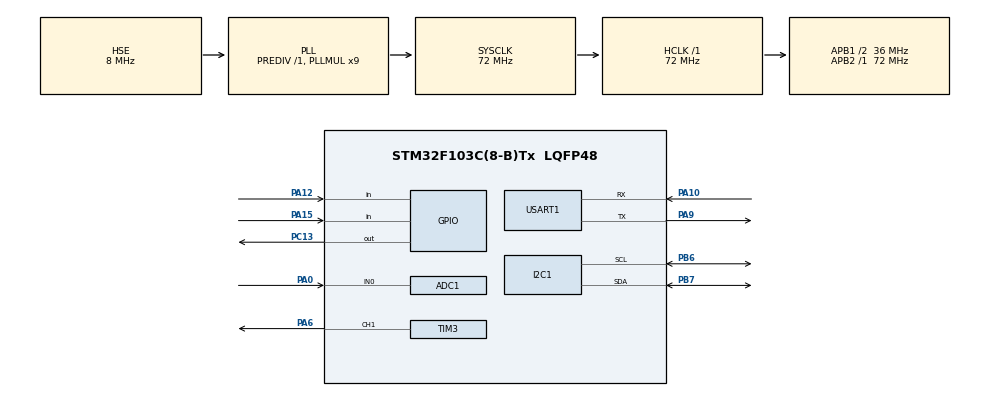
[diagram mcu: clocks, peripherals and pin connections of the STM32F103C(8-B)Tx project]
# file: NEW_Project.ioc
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ADC1.Channel-2\#ChannelRegularConversion=ADC_CHANNEL_0
ADC1.ContinuousConvMode=ENABLE
ADC1.NbrOfConversionFlag=1
ADC1.Rank-2\#ChannelRegularConversion=1
ADC1.SamplingTime-2\#ChannelRegularConversion=ADC_SAMPLETIME_28CYCLES_5
ADC1.master=1
Mcu.Family=STM32F1
Mcu.Name=STM32F103C(8-B)Tx
Mcu.Package=LQFP48
NVIC.PriorityGroup=NVIC_PRIORITYGROUP_4
NVIC.TIM2_IRQn=true\:14\:0\:true\:false\:true\:true\:true\:true
NVIC.USART1_IRQn=true\:1\:0\:true\:false\:true\:true\:true\:true
PA0-WKUP.Signal=ADCx_IN0
PA10.Mode=Asynchronous
PA10.Signal=USART1_RX
PA12.GPIO_PuPd=GPIO_PULLUP
PA12.Signal=GPIO_Input
PA13.Mode=Serial_Wire
PA13.Signal=SYS_JTMS-SWDIO
PA14.Mode=Serial_Wire
PA14.Signal=SYS_JTCK-SWCLK
PA15.GPIO_PuPd=GPIO_PULLUP
PA15.Signal=GPIO_Input
PA6.Signal=S_TIM3_CH1
PA9.Mode=Asynchronous
PA9.Signal=USART1_TX
PB6.Mode=I2C
PB6.Signal=I2C1_SCL
PB7.Mode=I2C
PB7.Signal=I2C1_SDA
PC13-TAMPER-RTC.GPIO_ModeDefaultOutputPP=GPIO_MODE_OUTPUT_OD
PC13-TAMPER-RTC.GPIO_PuPd=GPIO_NOPULL
PC13-TAMPER-RTC.PinState=GPIO_PIN_SET
PC13-TAMPER-RTC.Signal=GPIO_Output
PD0-OSC_IN.Mode=HSE-External-Oscillator
PD0-OSC_IN.Signal=RCC_OSC_IN
PD1-OSC_OUT.Mode=HSE-External-Oscillator
PD1-OSC_OUT.Signal=RCC_OSC_OUT
ProjectManager.HeapSize=0x200
ProjectManager.StackSize=0x400
ProjectManager.TargetToolchain=CMake
RCC.ADCPresc=RCC_ADCPCLK2_DIV6
RCC.AHBFreq_Value=72000000
RCC.APB1CLKDivider=RCC_HCLK_DIV2
RCC.APB1Freq_Value=36000000
RCC.APB1TimFreq_Value=72000000
RCC.APB2Freq_Value=72000000
RCC.APB2TimFreq_Value=72000000
RCC.HCLKFreq_Value=72000000
RCC.PLLMUL=RCC_PLL_MUL9
RCC.PLLSourceVirtual=RCC_PLLSOURCE_HSE
RCC.SYSCLKFreq_VALUE=72000000
RCC.SYSCLKSource=RCC_SYSCLKSOURCE_PLLCLK
RCC.USBFreq_Value=72000000
SH.ADCx_IN0.0=ADC1_IN0,IN0
SH.S_TIM3_CH1.0=TIM3_CH1,PWM Generation1 CH1
TIM2.AutoReloadPreload=TIM_AUTORELOAD_PRELOAD_ENABLE
TIM2.Period=999
TIM2.Prescaler=71
TIM3.AutoReloadPreload=TIM_AUTORELOAD_PRELOAD_ENABLE
TIM3.Channel-PWM\ Generation1\ CH1=TIM_CHANNEL_1
TIM3.Period=999
TIM3.Prescaler=71
USART1.VirtualMode=VM_ASYNC
VP_TIM2_VS_ClockSourceINT.Mode=Internal
VP_TIM3_VS_ClockSourceINT.Mode=Internal
board=custom

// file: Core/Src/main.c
/* USER CODE BEGIN Header */
/**
  ******************************************************************************
  * @file           : main.c
  * @brief          : Main program body
  ******************************************************************************
  * @attention
  *
  * Copyright (c) 2026 STMicroelectronics.
  * All rights reserved.
  *
  * This software is licensed under terms that can be found in the LICENSE file
  * in the root directory of this software component.
  * If no LICENSE file comes with this software, it is provided AS-IS.
  *
  ******************************************************************************
  */
/* USER CODE END Header */
#include "main.h"
#include "adc.h"
#include "i2c.h"
#include "tim.h"
#include "usart.h"
#include "gpio.h"

/* USER CODE BEGIN Includes */

#include "task.h"

/* USER CODE END Includes */

void SystemClock_Config(void);
/* USER CODE BEGIN PFP */

void HAL_TIM_PeriodElapsedCallback(TIM_HandleTypeDef *htim)
{
  /* USER CODE BEGIN Callback 0 */

  /* USER CODE END Callback 0 */
  if (htim->Instance == TIM2) {
    TaskTimeSlice();
  }
  /* USER CODE BEGIN Callback 1 */

  /* USER CODE END Callback 1 */
}

/* USER CODE END PFP */

int main(void)
{

  /* MCU Configuration--------------------------------------------------------*/

  /* Reset of all peripherals, Initializes the Flash interface and the Systick. */
  HAL_Init();

  /* Configure the system clock */
  SystemClock_Config();

  /* Initialize all configured peripherals */
  MX_GPIO_Init();
  MX_TIM2_Init();
  MX_USART1_UART_Init();
  MX_ADC1_Init();
  MX_I2C1_Init();
  MX_TIM3_Init();
  /* USER CODE BEGIN 2 */

  HAL_TIM_Base_Start_IT(&htim2);

  HAL_TIM_PWM_Start_IT(&htim3, TIM_CHANNEL_1);

  adc_app_Init();

  uart_stdio_Init();

  OLED_Init();
  /* USER CODE END 2 */

  /* Infinite loop */
  /* USER CODE BEGIN WHILE */

  	if (mode == 0 )  OLED_Show_String (1 , 1 , (uint8_t*)"MAN ") ;
		else if (mode == 1 )   OLED_Show_String (1 , 1 , (uint8_t*)"AUTO") ;
		OLED_Show_String (1 , 3 ,(uint8_t*)"ADC_Voltage:" ) ;
		OLED_Show_String (1 , 5 ,(uint8_t*)"PWM_Duty:" ) ;
		OLED_Show_Float  (97 , 3 , 0.00f , 1 , 2  ) ;
		OLED_Show_Num 	 (73 , 5 , 000 , 3 ) ;

  while (1)
  {
    TaskHandler();

    /* USER CODE END WHILE */

  }
}

void SystemClock_Config(void)
{
  RCC_OscInitTypeDef RCC_OscInitStruct = {0};
  RCC_ClkInitTypeDef RCC_ClkInitStruct = {0};
  RCC_PeriphCLKInitTypeDef PeriphClkInit = {0};

  /** Initializes the RCC Oscillators according to the specified parameters
  * in the RCC_OscInitTypeDef structure.
  */
  RCC_OscInitStruct.OscillatorType = RCC_OSCILLATORTYPE_HSE;
  RCC_OscInitStruct.HSEState = RCC_HSE_ON;
  RCC_OscInitStruct.HSEPredivValue = RCC_HSE_PREDIV_DIV1;
  RCC_OscInitStruct.HSIState = RCC_HSI_ON;
  RCC_OscInitStruct.PLL.PLLState = RCC_PLL_ON;
  RCC_OscInitStruct.PLL.PLLSource = RCC_PLLSOURCE_HSE;
  RCC_OscInitStruct.PLL.PLLMUL = RCC_PLL_MUL9;
  if (HAL_RCC_OscConfig(&RCC_OscInitStruct) != HAL_OK)
  {
    Error_Handler();
  }

  /** Initializes the CPU, AHB and APB buses clocks
  */
  RCC_ClkInitStruct.ClockType = RCC_CLOCKTYPE_HCLK|RCC_CLOCKTYPE_SYSCLK
                              |RCC_CLOCKTYPE_PCLK1|RCC_CLOCKTYPE_PCLK2;
  RCC_ClkInitStruct.SYSCLKSource = RCC_SYSCLKSOURCE_PLLCLK;
  RCC_ClkInitStruct.AHBCLKDivider = RCC_SYSCLK_DIV1;
  RCC_ClkInitStruct.APB1CLKDivider = RCC_HCLK_DIV2;
  RCC_ClkInitStruct.APB2CLKDivider = RCC_HCLK_DIV1;

  if (HAL_RCC_ClockConfig(&RCC_ClkInitStruct, FLASH_LATENCY_2) != HAL_OK)
  {
    Error_Handler();
  }
  PeriphClkInit.PeriphClockSelection = RCC_PERIPHCLK_ADC;
  PeriphClkInit.AdcClockSelection = RCC_ADCPCLK2_DIV6;
  if (HAL_RCCEx_PeriphCLKConfig(&PeriphClkInit) != HAL_OK)
  {
    Error_Handler();
  }
}

void Error_Handler(void)
{
  __disable_irq();
  while (1)
  {
  }
}
